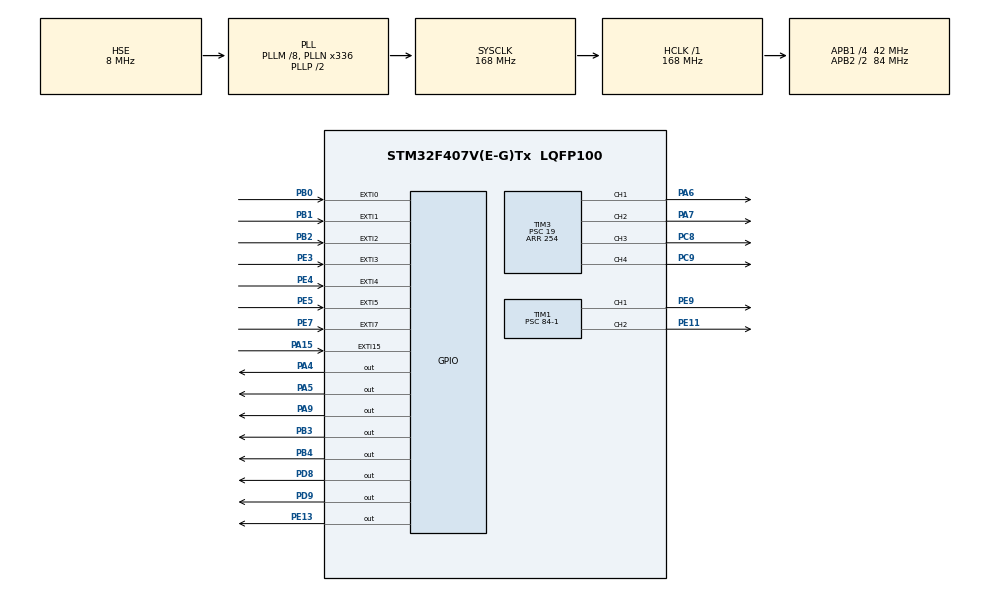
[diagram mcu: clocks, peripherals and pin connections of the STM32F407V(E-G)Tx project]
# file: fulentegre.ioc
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Mcu.Family=STM32F4
Mcu.Name=STM32F407V(E-G)Tx
Mcu.Package=LQFP100
NVIC.EXTI0_IRQn=true\:0\:0\:false\:false\:true\:true\:true\:true
NVIC.EXTI15_10_IRQn=true\:0\:0\:false\:false\:true\:true\:true\:true
NVIC.EXTI1_IRQn=true\:0\:0\:false\:false\:true\:true\:true\:true
NVIC.EXTI2_IRQn=true\:0\:0\:false\:false\:true\:true\:true\:true
NVIC.EXTI3_IRQn=true\:0\:0\:false\:false\:true\:true\:true\:true
NVIC.EXTI4_IRQn=true\:0\:0\:false\:false\:true\:true\:true\:true
NVIC.EXTI9_5_IRQn=true\:0\:0\:false\:false\:true\:true\:true\:true
NVIC.PriorityGroup=NVIC_PRIORITYGROUP_0
PA13.Mode=Serial_Wire
PA13.Signal=SYS_JTMS-SWDIO
PA14.Mode=Serial_Wire
PA14.Signal=SYS_JTCK-SWCLK
PA15.GPIO_ModeDefaultEXTI=GPIO_MODE_IT_RISING_FALLING
PA15.GPIO_PuPd=GPIO_PULLUP
PA15.Signal=GPXTI15
PA4.Signal=GPIO_Output
PA5.Signal=GPIO_Output
PA6.Signal=S_TIM3_CH1
PA7.Signal=S_TIM3_CH2
PA9.Signal=GPIO_Output
PB0.GPIO_ModeDefaultEXTI=GPIO_MODE_IT_RISING_FALLING
PB0.GPIO_PuPd=GPIO_PULLUP
PB0.Signal=GPXTI0
PB1.Signal=GPXTI1
PB2.GPIO_ModeDefaultEXTI=GPIO_MODE_IT_RISING_FALLING
PB2.GPIO_PuPd=GPIO_PULLUP
PB2.Signal=GPXTI2
PB3.Signal=GPIO_Output
PB4.Signal=GPIO_Output
PC8.Signal=S_TIM3_CH3
PC9.Signal=S_TIM3_CH4
PD8.Signal=GPIO_Output
PD9.Signal=GPIO_Output
PE11.Signal=S_TIM1_CH2
PE13.Signal=GPIO_Output
PE3.GPIO_ModeDefaultEXTI=GPIO_MODE_IT_RISING_FALLING
PE3.GPIO_PuPd=GPIO_NOPULL
PE3.Signal=GPXTI3
PE4.GPIO_ModeDefaultEXTI=GPIO_MODE_IT_RISING_FALLING
PE4.GPIO_PuPd=GPIO_PULLUP
PE4.Signal=GPXTI4
PE5.GPIO_ModeDefaultEXTI=GPIO_MODE_IT_RISING_FALLING
PE5.Signal=GPXTI5
PE7.GPIO_ModeDefaultEXTI=GPIO_MODE_IT_RISING_FALLING
PE7.Signal=GPXTI7
PE9.Signal=S_TIM1_CH1
PH0-OSC_IN.Mode=HSE-External-Oscillator
PH0-OSC_IN.Signal=RCC_OSC_IN
PH1-OSC_OUT.Mode=HSE-External-Oscillator
PH1-OSC_OUT.Signal=RCC_OSC_OUT
ProjectManager.HeapSize=0x200
ProjectManager.StackSize=0x400
ProjectManager.TargetToolchain=STM32CubeIDE
RCC.48MHZClocksFreq_Value=48000000
RCC.AHBFreq_Value=168000000
RCC.APB1CLKDivider=RCC_HCLK_DIV4
RCC.APB1Freq_Value=42000000
RCC.APB1TimFreq_Value=84000000
RCC.APB2CLKDivider=RCC_HCLK_DIV2
RCC.APB2Freq_Value=84000000
RCC.APB2TimFreq_Value=168000000
RCC.CortexFreq_Value=168000000
RCC.HCLKFreq_Value=168000000
RCC.HSE_VALUE=8000000
RCC.HSI_VALUE=16000000
RCC.LSE_VALUE=32768
RCC.PLLM=8
RCC.PLLN=336
RCC.PLLQ=7
RCC.PLLSourceVirtual=RCC_PLLSOURCE_HSE
RCC.SYSCLKFreq_VALUE=168000000
RCC.SYSCLKSource=RCC_SYSCLKSOURCE_PLLCLK
RCC.VCOOutputFreq_Value=336000000
SH.S_TIM1_CH1.0=TIM1_CH1,PWM Generation1 CH1
SH.S_TIM1_CH2.0=TIM1_CH2,PWM Generation2 CH2
SH.S_TIM3_CH1.0=TIM3_CH1,PWM Generation1 CH1
SH.S_TIM3_CH2.0=TIM3_CH2,PWM Generation2 CH2
SH.S_TIM3_CH3.0=TIM3_CH3,PWM Generation3 CH3
SH.S_TIM3_CH4.0=TIM3_CH4,PWM Generation4 CH4
TIM1.Channel-PWM\ Generation1\ CH1=TIM_CHANNEL_1
TIM1.Channel-PWM\ Generation2\ CH2=TIM_CHANNEL_2
TIM1.Period=85-1
TIM1.Prescaler=84-1
TIM2.Prescaler=83
TIM3.Channel-PWM\ Generation1\ CH1=TIM_CHANNEL_1
TIM3.Channel-PWM\ Generation2\ CH2=TIM_CHANNEL_2
TIM3.Channel-PWM\ Generation3\ CH3=TIM_CHANNEL_3
TIM3.Channel-PWM\ Generation4\ CH4=TIM_CHANNEL_4
TIM3.Period=254
TIM3.Prescaler=19
VP_TIM1_VS_ClockSourceINT.Mode=Internal
VP_TIM2_VS_ClockSourceINT.Mode=Internal
VP_TIM5_VS_ClockSourceINT.Mode=Internal
board=STM32F407G-DISC1

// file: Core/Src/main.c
/* USER CODE BEGIN Header */
/**
  ******************************************************************************
  * @file           : main.c
  * @brief          : Main program body
  ******************************************************************************
  * @attention
  *
  * Copyright (c) 2024 STMicroelectronics.
  * All rights reserved.
  *
  * This software is licensed under terms that can be found in the LICENSE file
  * in the root directory of this software component.
  * If no LICENSE file comes with this software, it is provided AS-IS.
  *
  ************************************************************************************
  */
/* USER CODE END Header */
#include "main.h"
#include "stdlib.h"

TIM_HandleTypeDef htim1;
TIM_HandleTypeDef htim2;
TIM_HandleTypeDef htim3;
TIM_HandleTypeDef htim5;

void SystemClock_Config(void);
static void MX_GPIO_Init(void);
static void MX_TIM3_Init(void);
static void MX_TIM2_Init(void);
static void MX_TIM1_Init(void);
static void MX_TIM5_Init(void);

/* USER CODE BEGIN 0 */

// ENCODER
volatile int32_t encoder=0;
// direksiyon için kumanda sinyali değişkenleri extı_2
 volatile uint32_t starttime3=0;
 volatile uint32_t endtime3=0;
 volatile float pulsewidth3=0;
 volatile uint32_t count3=0;
 volatile uint32_t pulsewidth_prev=0;

 // proximity 1 extı3
 extern volatile uint32_t falling_detected2;
 // proximity2 extı5
 extern volatile uint16_t falling_detected;

 // TULPAR İÇİN KUMANDA DE�?İ�?KENLERİ
 extern volatile uint32_t starttime1;
 extern volatile uint32_t endtime1;
 extern volatile uint32_t pulsewidth1;
 extern volatile uint32_t count1;
 extern volatile int32_t dutycycle0;
 extern volatile int32_t dutycycle1;
 extern volatile int32_t dutycycle2;
 volatile uint32_t  dutycyclenew1=0;
 volatile uint32_t  dutycyclenew2=0;

 // FREN İÇİN KUMANDA SİNYALİ
 extern volatile uint32_t starttime;
 extern volatile uint32_t endtime;
 extern volatile uint32_t pulsewidth;
 extern volatile uint32_t count;
 extern volatile uint32_t command;
 extern volatile uint32_t signal;

 // pid kontrol değişkenleri
 volatile float ref_aci=0;
 volatile uint32_t t=0;
 volatile uint32_t t_prev=0;
 volatile float motoraci=0;
 volatile float aci1=0;
 volatile uint32_t aci1_prev=0;
 volatile int32_t dt=0;
 volatile int32_t error=0;
 volatile int32_t error_prev=0;
 volatile uint32_t inte=0;
 volatile uint32_t inte_prev=0;
 int32_t vmax=100;
 int32_t vmin=-100;
 volatile int32_t v=0;
 // tuning parametreleri
 float kp=0.4;
 float kd=1.000;
 float ki=0.1;
volatile uint32_t counter=0;
volatile uint32_t pompa=0;
uint32_t b=0;
 // BO�?
 volatile int AA=0;
 volatile uint32_t duty=0;
 volatile uint32_t BB=0;
 volatile uint32_t BA=0;

 void motor_fonksiyonu()
 {
 	if(dutycycle0<6298)
 		{
 			HAL_GPIO_WritePin(GPIOD, GPIO_PIN_9, ENABLE); //REWERSE
 			HAL_GPIO_WritePin(GPIOD, GPIO_PIN_8, DISABLE);
 			__HAL_TIM_SET_COMPARE(&htim3 ,TIM_CHANNEL_1, dutycyclenew1);
 			counter++;
 		}

 	if(dutycycle0>6298)
 		{
 			HAL_GPIO_WritePin(GPIOD, GPIO_PIN_9, DISABLE); //FORWARD
 			HAL_GPIO_WritePin(GPIOD, GPIO_PIN_8, ENABLE);
 			__HAL_TIM_SET_COMPARE(&htim3,TIM_CHANNEL_1, dutycyclenew2);
 			counter--;
 		}
 	if(dutycycle0==6298)
 	{
 		HAL_GPIO_WritePin(GPIOD, GPIO_PIN_9, DISABLE); //FORWARD
 		 HAL_GPIO_WritePin(GPIOD, GPIO_PIN_8, DISABLE);
 		__HAL_TIM_SET_COMPARE(&htim3,TIM_CHANNEL_1,dutycyclenew1);
	}

 }
 void motorfonksiyon_pid()
 {
	// direksiyon
 	ref_aci=-((pulsewidth3-179000)/82)+10;
 	aci1=encoder*0.12;
 	motoraci=aci1+720;
 	t=TIM2->CNT;
 		  if(t<t_prev)
 		  {
 		 	  dt=(4294967295 - t_prev) + t + 1;
 		  }
 		 else
 		  {
 		 	  dt=t-t_prev;
 		  }

 	error=motoraci-ref_aci;// error hesabı
 	inte=inte_prev+(dt*(error+error_prev)/2); // hatanın integrali

 		 	// Hatayı sınırlıyoruz ki overflow olmasın
 		  if (dt != 0)
 		  {
 		 	   int32_t max_inte=200;
 		 	  int32_t min_inte=-200;

 		 	  if(inte>max_inte)
 		 	  {
 		 		  inte=max_inte;

 		 	  }
 		 	  else if(inte<min_inte)
 		 	  {
 		 		  inte=min_inte;

 		 	  }
 		 	}

 		 	v=(kp*error)+(ki*inte)+(kd*((error-error_prev)/dt)); //PID den çıkan sinyal

 		 	if(v>vmax)
 		 	{
 		 		v=vmax;
 	//	 		inte=inte_prev;
 		 	}
 		 	if(v<vmin)
 		 	{
 		 		v=vmin;
 		 	//	inte=inte_prev;

 		 	}

 	 duty=(200*abs(v)/vmax);
 	if(duty>200)
 	{

 		duty=200;
 	}
 	if(v>0)
 	{
 		// sağa dönüş
 		__HAL_TIM_SET_COMPARE(&htim3,TIM_CHANNEL_3,duty);
 		__HAL_TIM_SET_COMPARE(&htim3,TIM_CHANNEL_4,0);
BB=__HAL_TIM_GET_COMPARE(&htim3,TIM_CHANNEL_3);
BA=__HAL_TIM_GET_COMPARE(&htim3,TIM_CHANNEL_4);
 	}
 	else if(v<0)
 	{
 		//sola dönüş
 		__HAL_TIM_SET_COMPARE(&htim3,TIM_CHANNEL_3,0);
 		__HAL_TIM_SET_COMPARE(&htim3,TIM_CHANNEL_4,duty);
 		BB=__HAL_TIM_GET_COMPARE(&htim3,TIM_CHANNEL_3);
 		BA=__HAL_TIM_GET_COMPARE(&htim3,TIM_CHANNEL_4);

 	}
 	else
 	{
 		__HAL_TIM_SET_COMPARE(&htim3,TIM_CHANNEL_3,0);
 		__HAL_TIM_SET_COMPARE(&htim3,TIM_CHANNEL_4,0);
 		BB=__HAL_TIM_GET_COMPARE(&htim3,TIM_CHANNEL_3);
 		BA=__HAL_TIM_GET_COMPARE(&htim3,TIM_CHANNEL_4);

 	}
 	t_prev=t;
 	inte_prev=inte;
 	error_prev=error;
 	HAL_Delay(10);

 }

/* USER CODE END 0 */

int main(void)
{

  /* MCU Configuration--------------------------------------------------------*/

  /* Reset of all peripherals, Initializes the Flash interface and the Systick. */
  HAL_Init();

  /* Configure the system clock */
  SystemClock_Config();

  /* Initialize all configured peripherals */
  MX_GPIO_Init();
  MX_TIM3_Init();
  MX_TIM2_Init();
  MX_TIM1_Init();
  MX_TIM5_Init();
  /* USER CODE BEGIN 2 */
  HAL_TIM_Base_Start(&htim2);
  HAL_TIM_Base_Start(&htim5);

  HAL_TIM_PWM_Start(&htim1, TIM_CHANNEL_1);// FREN MOTORU PWM
  HAL_TIM_PWM_Start(&htim1, TIM_CHANNEL_2);// FREN MOTORU PWM
  HAL_TIM_PWM_Start(&htim3, TIM_CHANNEL_1);// TULPAR PWM
  HAL_TIM_PWM_Start(&htim3, TIM_CHANNEL_2);// DİREKSİYON PWM
  HAL_TIM_PWM_Start(&htim3, TIM_CHANNEL_4);// DİREKSİYON  MOTORU LEFT PWM(YENİ)
  HAL_TIM_PWM_Start(&htim3, TIM_CHANNEL_3);// DİREKSİYON PWM
  HAL_GPIO_WritePin(GPIOB, GPIO_PIN_4,ENABLE);// FREN RIGHT ENABLE
  HAL_GPIO_WritePin(GPIOB, GPIO_PIN_3,ENABLE);// FREN LEFT ENABLE
  HAL_GPIO_WritePin(GPIOD, GPIO_PIN_8,DISABLE);// TULPAR FORWARD ENABLE
  HAL_GPIO_WritePin(GPIOD, GPIO_PIN_9,DISABLE);// TULPAR REVERSE ENABLE
  HAL_GPIO_WritePin(GPIOA, GPIO_PIN_4, ENABLE); //DİREKSİYON RİGHT ENABLE
  HAL_GPIO_WritePin(GPIOA, GPIO_PIN_5,ENABLE);// DİREKSİYON LEFT ENABLE
  HAL_GPIO_WritePin(GPIOE, GPIO_PIN_13,ENABLE);

  // KALDIRILABİLİR ALTTAKİ KISIM
//  HAL_GPIO_WritePin(GPIOA, GPIO_PIN_9,ENABLE);
// HAL_Delay(3000);
//  HAL_GPIO_WritePin(GPIOA, GPIO_PIN_9,DISABLE);

  /* USER CODE END 2 */

  /* Infinite loop */
  while (1)
  {

    /* USER CODE BEGIN 3 */
	  /* USER CODE END WHILE */

	      /* USER CODE BEGIN 3 */
b++;
	  		motor_fonksiyonu();
	  		motorfonksiyon_pid();
	  		AA=__HAL_TIM_GET_COMPARE(&htim3,TIM_CHANNEL_1);

	  if(signal == 1){
			if(falling_detected2==1){
			  		while(1){

			  			__HAL_TIM_SET_COMPARE(&htim1, TIM_CHANNEL_1, 0);
			  			__HAL_TIM_SET_COMPARE(&htim1, TIM_CHANNEL_2, 0);
			  			motor_fonksiyonu();
			  			motorfonksiyon_pid();
			  			AA=__HAL_TIM_GET_COMPARE(&htim3,TIM_CHANNEL_1);

			  			if(signal != 1||falling_detected2==0){
			  				break;
			  				AA=__HAL_TIM_GET_COMPARE(&htim3,TIM_CHANNEL_1);
			  			}
			  		}
			  	}
	  	__HAL_TIM_SET_COMPARE(&htim1, TIM_CHANNEL_1, 0); //holding the  motor
	  	__HAL_TIM_SET_COMPARE(&htim1, TIM_CHANNEL_2, 60);
	  	motor_fonksiyonu();
	  	motorfonksiyon_pid();
	  	AA=__HAL_TIM_GET_COMPARE(&htim3,TIM_CHANNEL_1);

//
//	  	if(falling_detected2==0)
//	  	{
//
//	  		motor_fonksiyonu();
//	  		motorfonksiyon_pid();
//
//	  		AA=__HAL_TIM_GET_COMPARE(&htim3,TIM_CHANNEL_1);
//	  	}
	  }

	  if(signal == 0){
			if(falling_detected==1){
			  		while(1){
			  			__HAL_TIM_SET_COMPARE(&htim1, TIM_CHANNEL_1, 0);
			  			__HAL_TIM_SET_COMPARE(&htim1, TIM_CHANNEL_2, 0);
			  			motor_fonksiyonu();
			  			motorfonksiyon_pid();
			  			AA=__HAL_TIM_GET_COMPARE(&htim3,TIM_CHANNEL_1);

			  			if(signal != 0||falling_detected==0){
			  				pompa=0;
			  				break;
			  			}
			  		}
			  	}
	  	__HAL_TIM_SET_COMPARE(&htim1, TIM_CHANNEL_1, 60); //holding the  motor
	  	__HAL_TIM_SET_COMPARE(&htim1, TIM_CHANNEL_2, 0);
	  	motor_fonksiyonu();
	  	motorfonksiyon_pid();
	  	AA=__HAL_TIM_GET_COMPARE(&htim3,TIM_CHANNEL_1);

//	  	if(falling_detected==0)
//	  		{
//	  			motor_fonksiyonu();
//	  			AA=__HAL_TIM_GET_COMPARE(&htim3,TIM_CHANNEL_1);
//	  			motorfonksiyon_pid();
//
//	  		}
	  }

  }
  /* USER CODE END 3 */
}

void SystemClock_Config(void)
{
  RCC_OscInitTypeDef RCC_OscInitStruct = {0};
  RCC_ClkInitTypeDef RCC_ClkInitStruct = {0};

  /** Configure the main internal regulator output voltage
  */
  __HAL_RCC_PWR_CLK_ENABLE();
  __HAL_PWR_VOLTAGESCALING_CONFIG(PWR_REGULATOR_VOLTAGE_SCALE1);

  /** Initializes the RCC Oscillators according to the specified parameters
  * in the RCC_OscInitTypeDef structure.
  */
  RCC_OscInitStruct.OscillatorType = RCC_OSCILLATORTYPE_HSE;
  RCC_OscInitStruct.HSEState = RCC_HSE_ON;
  RCC_OscInitStruct.PLL.PLLState = RCC_PLL_ON;
  RCC_OscInitStruct.PLL.PLLSource = RCC_PLLSOURCE_HSE;
  RCC_OscInitStruct.PLL.PLLM = 8;
  RCC_OscInitStruct.PLL.PLLN = 336;
  RCC_OscInitStruct.PLL.PLLP = RCC_PLLP_DIV2;
  RCC_OscInitStruct.PLL.PLLQ = 7;
  if (HAL_RCC_OscConfig(&RCC_OscInitStruct) != HAL_OK)
  {
    Error_Handler();
  }

  /** Initializes the CPU, AHB and APB buses clocks
  */
  RCC_ClkInitStruct.ClockType = RCC_CLOCKTYPE_HCLK|RCC_CLOCKTYPE_SYSCLK
                              |RCC_CLOCKTYPE_PCLK1|RCC_CLOCKTYPE_PCLK2;
  RCC_ClkInitStruct.SYSCLKSource = RCC_SYSCLKSOURCE_PLLCLK;
  RCC_ClkInitStruct.AHBCLKDivider = RCC_SYSCLK_DIV1;
  RCC_ClkInitStruct.APB1CLKDivider = RCC_HCLK_DIV4;
  RCC_ClkInitStruct.APB2CLKDivider = RCC_HCLK_DIV2;

  if (HAL_RCC_ClockConfig(&RCC_ClkInitStruct, FLASH_LATENCY_5) != HAL_OK)
  {
    Error_Handler();
  }
}

static void MX_TIM1_Init(void)
{

  TIM_ClockConfigTypeDef sClockSourceConfig = {0};
  TIM_MasterConfigTypeDef sMasterConfig = {0};
  TIM_OC_InitTypeDef sConfigOC = {0};
  TIM_BreakDeadTimeConfigTypeDef sBreakDeadTimeConfig = {0};

  htim1.Instance = TIM1;
  htim1.Init.Prescaler = 84-1;
  htim1.Init.CounterMode = TIM_COUNTERMODE_UP;
  htim1.Init.Period = 85-1;
  htim1.Init.ClockDivision = TIM_CLOCKDIVISION_DIV1;
  htim1.Init.RepetitionCounter = 0;
  htim1.Init.AutoReloadPreload = TIM_AUTORELOAD_PRELOAD_DISABLE;
  if (HAL_TIM_Base_Init(&htim1) != HAL_OK)
  {
    Error_Handler();
  }
  sClockSourceConfig.ClockSource = TIM_CLOCKSOURCE_INTERNAL;
  if (HAL_TIM_ConfigClockSource(&htim1, &sClockSourceConfig) != HAL_OK)
  {
    Error_Handler();
  }
  if (HAL_TIM_PWM_Init(&htim1) != HAL_OK)
  {
    Error_Handler();
  }
  sMasterConfig.MasterOutputTrigger = TIM_TRGO_RESET;
  sMasterConfig.MasterSlaveMode = TIM_MASTERSLAVEMODE_DISABLE;
  if (HAL_TIMEx_MasterConfigSynchronization(&htim1, &sMasterConfig) != HAL_OK)
  {
    Error_Handler();
  }
  sConfigOC.OCMode = TIM_OCMODE_PWM1;
  sConfigOC.Pulse = 0;
  sConfigOC.OCPolarity = TIM_OCPOLARITY_HIGH;
  sConfigOC.OCNPolarity = TIM_OCNPOLARITY_HIGH;
  sConfigOC.OCFastMode = TIM_OCFAST_DISABLE;
  sConfigOC.OCIdleState = TIM_OCIDLESTATE_RESET;
  sConfigOC.OCNIdleState = TIM_OCNIDLESTATE_RESET;
  if (HAL_TIM_PWM_ConfigChannel(&htim1, &sConfigOC, TIM_CHANNEL_1) != HAL_OK)
  {
    Error_Handler();
  }
  if (HAL_TIM_PWM_ConfigChannel(&htim1, &sConfigOC, TIM_CHANNEL_2) != HAL_OK)
  {
    Error_Handler();
  }
  sBreakDeadTimeConfig.OffStateRunMode = TIM_OSSR_DISABLE;
  sBreakDeadTimeConfig.OffStateIDLEMode = TIM_OSSI_DISABLE;
  sBreakDeadTimeConfig.LockLevel = TIM_LOCKLEVEL_OFF;
  sBreakDeadTimeConfig.DeadTime = 0;
  sBreakDeadTimeConfig.BreakState = TIM_BREAK_DISABLE;
  sBreakDeadTimeConfig.BreakPolarity = TIM_BREAKPOLARITY_HIGH;
  sBreakDeadTimeConfig.AutomaticOutput = TIM_AUTOMATICOUTPUT_DISABLE;
  if (HAL_TIMEx_ConfigBreakDeadTime(&htim1, &sBreakDeadTimeConfig) != HAL_OK)
  {
    Error_Handler();
  }
  HAL_TIM_MspPostInit(&htim1);

}

static void MX_TIM2_Init(void)
{

  TIM_ClockConfigTypeDef sClockSourceConfig = {0};
  TIM_MasterConfigTypeDef sMasterConfig = {0};

  htim2.Instance = TIM2;
  htim2.Init.Prescaler = 83;
  htim2.Init.CounterMode = TIM_COUNTERMODE_UP;
  htim2.Init.Period = 4294967295;
  htim2.Init.ClockDivision = TIM_CLOCKDIVISION_DIV1;
  htim2.Init.AutoReloadPreload = TIM_AUTORELOAD_PRELOAD_DISABLE;
  if (HAL_TIM_Base_Init(&htim2) != HAL_OK)
  {
    Error_Handler();
  }
  sClockSourceConfig.ClockSource = TIM_CLOCKSOURCE_INTERNAL;
  if (HAL_TIM_ConfigClockSource(&htim2, &sClockSourceConfig) != HAL_OK)
  {
    Error_Handler();
  }
  sMasterConfig.MasterOutputTrigger = TIM_TRGO_RESET;
  sMasterConfig.MasterSlaveMode = TIM_MASTERSLAVEMODE_DISABLE;
  if (HAL_TIMEx_MasterConfigSynchronization(&htim2, &sMasterConfig) != HAL_OK)
  {
    Error_Handler();
  }

}

static void MX_TIM3_Init(void)
{

  TIM_MasterConfigTypeDef sMasterConfig = {0};
  TIM_OC_InitTypeDef sConfigOC = {0};

  htim3.Instance = TIM3;
  htim3.Init.Prescaler = 19;
  htim3.Init.CounterMode = TIM_COUNTERMODE_UP;
  htim3.Init.Period = 254;
  htim3.Init.ClockDivision = TIM_CLOCKDIVISION_DIV1;
  htim3.Init.AutoReloadPreload = TIM_AUTORELOAD_PRELOAD_DISABLE;
  if (HAL_TIM_PWM_Init(&htim3) != HAL_OK)
  {
    Error_Handler();
  }
  sMasterConfig.MasterOutputTrigger = TIM_TRGO_RESET;
  sMasterConfig.MasterSlaveMode = TIM_MASTERSLAVEMODE_DISABLE;
  if (HAL_TIMEx_MasterConfigSynchronization(&htim3, &sMasterConfig) != HAL_OK)
  {
    Error_Handler();
  }
  sConfigOC.OCMode = TIM_OCMODE_PWM1;
  sConfigOC.Pulse = 0;
  sConfigOC.OCPolarity = TIM_OCPOLARITY_HIGH;
  sConfigOC.OCFastMode = TIM_OCFAST_DISABLE;
  if (HAL_TIM_PWM_ConfigChannel(&htim3, &sConfigOC, TIM_CHANNEL_1) != HAL_OK)
  {
    Error_Handler();
  }
  if (HAL_TIM_PWM_ConfigChannel(&htim3, &sConfigOC, TIM_CHANNEL_2) != HAL_OK)
  {
    Error_Handler();
  }
  if (HAL_TIM_PWM_ConfigChannel(&htim3, &sConfigOC, TIM_CHANNEL_3) != HAL_OK)
  {
    Error_Handler();
  }
  if (HAL_TIM_PWM_ConfigChannel(&htim3, &sConfigOC, TIM_CHANNEL_4) != HAL_OK)
  {
    Error_Handler();
  }
  HAL_TIM_MspPostInit(&htim3);

}

static void MX_TIM5_Init(void)
{

  TIM_ClockConfigTypeDef sClockSourceConfig = {0};
  TIM_MasterConfigTypeDef sMasterConfig = {0};

  htim5.Instance = TIM5;
  htim5.Init.Prescaler = 0;
  htim5.Init.CounterMode = TIM_COUNTERMODE_UP;
  htim5.Init.Period = 4294967295;
  htim5.Init.ClockDivision = TIM_CLOCKDIVISION_DIV1;
  htim5.Init.AutoReloadPreload = TIM_AUTORELOAD_PRELOAD_DISABLE;
  if (HAL_TIM_Base_Init(&htim5) != HAL_OK)
  {
    Error_Handler();
  }
  sClockSourceConfig.ClockSource = TIM_CLOCKSOURCE_INTERNAL;
  if (HAL_TIM_ConfigClockSource(&htim5, &sClockSourceConfig) != HAL_OK)
  {
    Error_Handler();
  }
  sMasterConfig.MasterOutputTrigger = TIM_TRGO_RESET;
  sMasterConfig.MasterSlaveMode = TIM_MASTERSLAVEMODE_DISABLE;
  if (HAL_TIMEx_MasterConfigSynchronization(&htim5, &sMasterConfig) != HAL_OK)
  {
    Error_Handler();
  }

}

static void MX_GPIO_Init(void)
{
  GPIO_InitTypeDef GPIO_InitStruct = {0};

  /* GPIO Ports Clock Enable */
  __HAL_RCC_GPIOE_CLK_ENABLE();
  __HAL_RCC_GPIOH_CLK_ENABLE();
  __HAL_RCC_GPIOA_CLK_ENABLE();
  __HAL_RCC_GPIOB_CLK_ENABLE();
  __HAL_RCC_GPIOD_CLK_ENABLE();
  __HAL_RCC_GPIOC_CLK_ENABLE();

  /*Configure GPIO pin Output Level */
  HAL_GPIO_WritePin(GPIOA, GPIO_PIN_4|GPIO_PIN_5|GPIO_PIN_9, GPIO_PIN_RESET);

  /*Configure GPIO pin Output Level */
  HAL_GPIO_WritePin(GPIOE, GPIO_PIN_13, GPIO_PIN_RESET);

  /*Configure GPIO pin Output Level */
  HAL_GPIO_WritePin(GPIOD, GPIO_PIN_8|GPIO_PIN_9, GPIO_PIN_RESET);

  /*Configure GPIO pin Output Level */
  HAL_GPIO_WritePin(GPIOB, GPIO_PIN_3|GPIO_PIN_4, GPIO_PIN_RESET);

  /*Configure GPIO pins : PE3 PE5 PE7 */
  GPIO_InitStruct.Pin = GPIO_PIN_3|GPIO_PIN_5|GPIO_PIN_7;
  GPIO_InitStruct.Mode = GPIO_MODE_IT_RISING_FALLING;
  GPIO_InitStruct.Pull = GPIO_NOPULL;
  HAL_GPIO_Init(GPIOE, &GPIO_InitStruct);

  /*Configure GPIO pin : PE4 */
  GPIO_InitStruct.Pin = GPIO_PIN_4;
  GPIO_InitStruct.Mode = GPIO_MODE_IT_RISING_FALLING;
  GPIO_InitStruct.Pull = GPIO_PULLUP;
  HAL_GPIO_Init(GPIOE, &GPIO_InitStruct);

  /*Configure GPIO pins : PA4 PA5 PA9 */
  GPIO_InitStruct.Pin = GPIO_PIN_4|GPIO_PIN_5|GPIO_PIN_9;
  GPIO_InitStruct.Mode = GPIO_MODE_OUTPUT_PP;
  GPIO_InitStruct.Pull = GPIO_NOPULL;
  GPIO_InitStruct.Speed = GPIO_SPEED_FREQ_LOW;
  HAL_GPIO_Init(GPIOA, &GPIO_InitStruct);

  /*Configure GPIO pins : PB0 PB2 */
  GPIO_InitStruct.Pin = GPIO_PIN_0|GPIO_PIN_2;
  GPIO_InitStruct.Mode = GPIO_MODE_IT_RISING_FALLING;
  GPIO_InitStruct.Pull = GPIO_PULLUP;
  HAL_GPIO_Init(GPIOB, &GPIO_InitStruct);

  /*Configure GPIO pin : PB1 */
  GPIO_InitStruct.Pin = GPIO_PIN_1;
  GPIO_InitStruct.Mode = GPIO_MODE_IT_RISING;
  GPIO_InitStruct.Pull = GPIO_NOPULL;
  HAL_GPIO_Init(GPIOB, &GPIO_InitStruct);

  /*Configure GPIO pin : PE13 */
  GPIO_InitStruct.Pin = GPIO_PIN_13;
  GPIO_InitStruct.Mode = GPIO_MODE_OUTPUT_PP;
  GPIO_InitStruct.Pull = GPIO_NOPULL;
  GPIO_InitStruct.Speed = GPIO_SPEED_FREQ_LOW;
  HAL_GPIO_Init(GPIOE, &GPIO_InitStruct);

  /*Configure GPIO pins : PD8 PD9 */
  GPIO_InitStruct.Pin = GPIO_PIN_8|GPIO_PIN_9;
  GPIO_InitStruct.Mode = GPIO_MODE_OUTPUT_PP;
  GPIO_InitStruct.Pull = GPIO_NOPULL;
  GPIO_InitStruct.Speed = GPIO_SPEED_FREQ_LOW;
  HAL_GPIO_Init(GPIOD, &GPIO_InitStruct);

  /*Configure GPIO pin : PA15 */
  GPIO_InitStruct.Pin = GPIO_PIN_15;
  GPIO_InitStruct.Mode = GPIO_MODE_IT_RISING_FALLING;
  GPIO_InitStruct.Pull = GPIO_PULLUP;
  HAL_GPIO_Init(GPIOA, &GPIO_InitStruct);

  /*Configure GPIO pins : PB3 PB4 */
  GPIO_InitStruct.Pin = GPIO_PIN_3|GPIO_PIN_4;
  GPIO_InitStruct.Mode = GPIO_MODE_OUTPUT_PP;
  GPIO_InitStruct.Pull = GPIO_NOPULL;
  GPIO_InitStruct.Speed = GPIO_SPEED_FREQ_LOW;
  HAL_GPIO_Init(GPIOB, &GPIO_InitStruct);

  /* EXTI interrupt init*/
  HAL_NVIC_SetPriority(EXTI0_IRQn, 0, 0);
  HAL_NVIC_EnableIRQ(EXTI0_IRQn);

  HAL_NVIC_SetPriority(EXTI1_IRQn, 0, 0);
  HAL_NVIC_EnableIRQ(EXTI1_IRQn);

  HAL_NVIC_SetPriority(EXTI2_IRQn, 0, 0);
  HAL_NVIC_EnableIRQ(EXTI2_IRQn);

  HAL_NVIC_SetPriority(EXTI3_IRQn, 0, 0);
  HAL_NVIC_EnableIRQ(EXTI3_IRQn);

  HAL_NVIC_SetPriority(EXTI4_IRQn, 0, 0);
  HAL_NVIC_EnableIRQ(EXTI4_IRQn);

  HAL_NVIC_SetPriority(EXTI9_5_IRQn, 0, 0);
  HAL_NVIC_EnableIRQ(EXTI9_5_IRQn);

  HAL_NVIC_SetPriority(EXTI15_10_IRQn, 0, 0);
  HAL_NVIC_EnableIRQ(EXTI15_10_IRQn);

}

void Error_Handler(void)
{
  __disable_irq();
  while (1)
  {
  }
}
